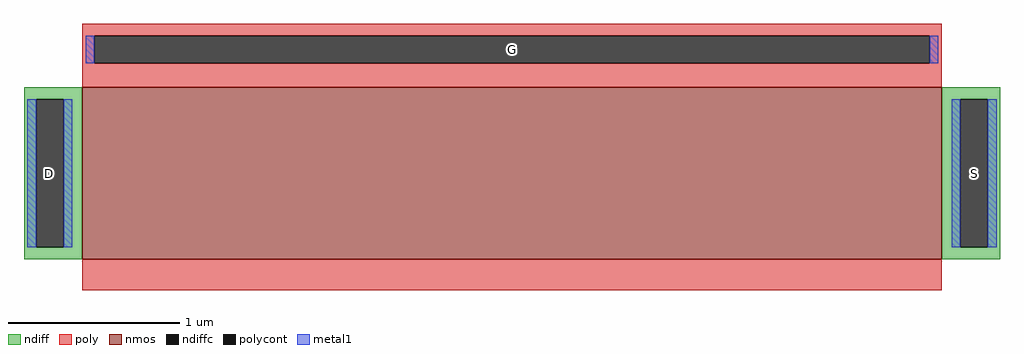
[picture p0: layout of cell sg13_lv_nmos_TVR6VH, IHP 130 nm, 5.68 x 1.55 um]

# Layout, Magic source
magic
tech ihp-sg13g2
magscale 1 2
<< nmos >>
rect -500 -119 500 81
<< ndiff >>
rect -568 67 -500 81
rect -568 -105 -554 67
rect -522 -105 -500 67
rect -568 -119 -500 -105
rect 500 67 568 81
rect 500 -105 522 67
rect 554 -105 568 67
rect 500 -119 568 -105
<< ndiffc >>
rect -554 -105 -522 67
rect 522 -105 554 67
<< poly >>
rect -500 141 500 155
rect -500 109 -486 141
rect 486 109 500 141
rect -500 81 500 109
rect -500 -155 500 -119
<< polycont >>
rect -486 109 486 141
<< metal1 >>
rect -496 109 -486 141
rect 486 109 496 141
rect -564 -105 -554 67
rect -522 -105 -512 67
rect 512 -105 522 67
rect 554 -105 564 67
<< labels >>
rlabel ndiffc -538 -19 -538 -19 0 D
port 1 nsew
rlabel ndiffc 538 -19 538 -19 0 S
port 2 nsew
rlabel polycont 0 125 0 125 0 G
port 3 nsew
<< properties >>
string gencell sg13_lv_nmos
string library sg13g2
string parameters w 1 l 5 m 1 nf 1 diffcov 100 polycov 100 guard 0 glc 1 grc 1 gtc 1 gbc 1 tbcov 100 rlcov 100 topc 1 botc 0 poverlap 0 doverlap 1 lmin 0.13 wmin 0.15 class mosfet compatible {sg13_lv_nmos sg13_hv_nmos} full_metal 1 conn_gates 0 gate_ring 0 doports 1 viasrc 0 viadrn 0 viagate 0 ccols 1 viagb 0 viagr 0 viagl 0 viagt 0
<< end >>
